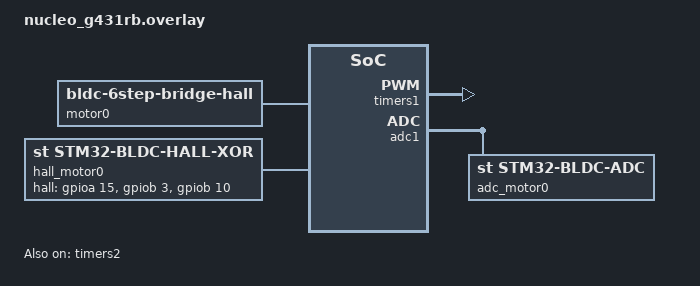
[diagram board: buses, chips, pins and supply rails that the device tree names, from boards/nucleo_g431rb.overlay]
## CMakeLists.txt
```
# Copyright (c) 2026 Rtone
# Copyright (c) 2026 Mathis Lécrivain <lecrivain.mathis@gmail.com>
# SPDX-License-Identifier: Apache-2.0

cmake_minimum_required(VERSION 3.20.0)

find_package(Zephyr REQUIRED HINTS $ENV{ZEPHYR_BASE})
project(driver_motor)

target_sources(app PRIVATE src/main.c)
```

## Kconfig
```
menu "Zephyr"
source "Kconfig.zephyr"
endmenu

module = APP
module-str = app

config APP_NAME
	string "Application name"
	default "$(module-str)"

source "subsys/logging/Kconfig.template.log_config"
```

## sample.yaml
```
# Copyright (c) 2026 Rtone
# Copyright (c) 2026 Mathis Lécrivain <lecrivain.mathis@gmail.com>
# SPDX-License-Identifier: Apache-2.0

sample:
  name: Motor driver shell
  description: >
    Drive a motor open-loop and read its feedback from the shell, using the
    motor driver directly with no motor control subsystem
tests:
  sample.driver.motor:
    build_only: true
    platform_allow:
      - nucleo_g431rb
    integration_platforms:
      - nucleo_g431rb
    tags: motor
```

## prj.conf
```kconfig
# Copyright (c) 2026 Rtone
# Copyright (c) 2026 Mathis Lécrivain <lecrivain.mathis@gmail.com>
# SPDX-License-Identifier: Apache-2.0

CONFIG_FPU=y
CONFIG_SHELL=y
CONFIG_MOTOR=y
CONFIG_SENSOR_SHELL=y
```

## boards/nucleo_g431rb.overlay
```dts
/*
 * Copyright (c) 2026 Rtone
 * Copyright (c) 2026 Mathis Lécrivain <lecrivain.mathis@gmail.com>
 *
 * SPDX-License-Identifier: Apache-2.0
 */

/*
 * X-NUCLEO-IHM16M1 shield: STSPIN830 reworked for MODE=H, factory 3-shunt
 * jumpers. See the README for the setup.
 */

/* Nucleo peripherals routed to pins the shield drives or senses */
&spi1 {
	status = "disabled"; /* PA7: phase W current */
};

&spi2 {
	status = "disabled"; /* PB12..PB15: EN/FAULT and low-side inputs */
};

&spi3 {
	status = "disabled"; /* PA15: Hall 1 */
};

&usart1 {
	status = "disabled"; /* PC4: NTC */
};

&pwm2 {
	status = "disabled"; /* TIM2 reads the Hall sensors */
};

/ {
	pwmleds {
		status = "disabled";
	};
};

&timers1 {
	status = "okay";
	st,prescaler = <0>;

	bridge0: pwm-bridge {
		compatible = "st,stm32-pwm-bridge";
		status = "okay";

		pinctrl-0 = <&tim1_ch1_pa8  &tim1_ch1n_pb13
			     &tim1_ch2_pa9  &tim1_ch2n_pb14
			     &tim1_ch3_pa10 &tim1_ch3n_pb15>;
		pinctrl-names = "default";

		st,leg-channels = <1 2 3>;

		pwm-frequency-hz = <20000>;
		deadtime-ns = <500>;
		sync-trigger-enable;
	};
};

&timers2 {
	status = "okay";
	st,prescaler = <63>;

	hall_motor0: hall-xor {
		compatible = "st,stm32-bldc-hall-xor";
		status = "okay";

		pinctrl-0 = <&tim2_ch1_pa15 &tim2_ch2_pb3 &tim2_ch3_pb10>;
		pinctrl-names = "default";

		hall-gpios = <&gpioa 15 0>, <&gpiob 3 0>, <&gpiob 10 0>;
	};
};

&adc1 {
	status = "okay";
	st,adc-clock-source = "SYNC";
	st,adc-prescaler = <4>;

	adc_motor0: bldc-adc {
		compatible = "st,stm32-bldc-adc";
		status = "okay";

		pwm = <&bridge0>;
		channels = <2 12 15>; /* PA1, PB1, PB0 */
	};
};

/ {
	motor0: motor0 {
		compatible = "zephyr,bldc-6step-bridge-hall", "zephyr,motor";
		status = "okay";

		pwm = <&bridge0>;
		hall = <&hall_motor0>;
		adc = <&adc_motor0>;
		shunt-resistance-uohm = <330000>;
		current-gain-milli = <1530>;
		motor-pole-pairs = <7>;

		motor0_feedback: feedback {
			compatible = "zephyr,motor-feedback";
		};
	};
};
```

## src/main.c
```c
/*
 * Copyright (c) 2026 Rtone
 * Copyright (c) 2026 Mathis Lécrivain <lecrivain.mathis@gmail.com>
 *
 * SPDX-License-Identifier: Apache-2.0
 */

#include <zephyr/device.h>
#include <zephyr/kernel.h>
#include <zephyr/logging/log.h>

LOG_MODULE_REGISTER(main, CONFIG_APP_LOG_LEVEL);

static const struct device *const motor = DEVICE_DT_GET(DT_NODELABEL(motor0));

/**
 * @brief Check the motor came up, then leave the shell in charge.
 *
 * @return 0 on success, -ENODEV if the motor driver failed its own init.
 */
int main(void)
{
	if (!device_is_ready(motor)) {
		LOG_ERR("%s failed to initialize", motor->name);
		return -ENODEV;
	}

	LOG_INF("%s ready", motor->name);

	return 0;
}
```
